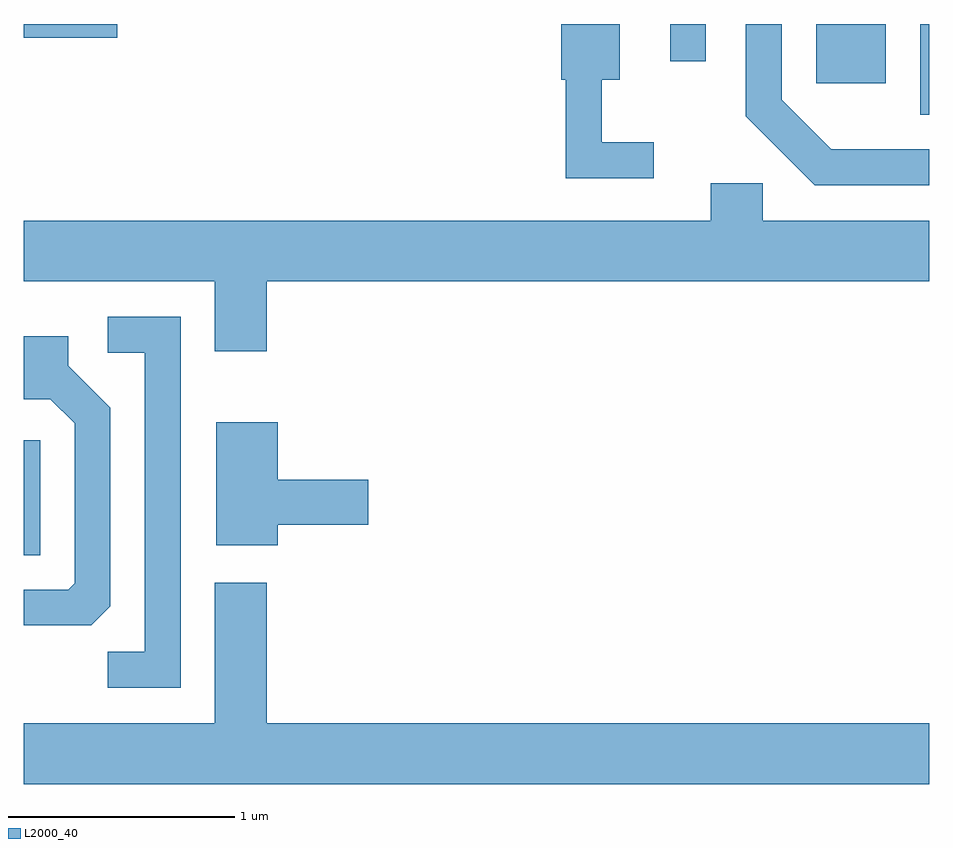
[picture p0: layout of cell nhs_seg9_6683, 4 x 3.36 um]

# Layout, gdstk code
import gdstk
lib = gdstk.Library(unit=1e-6, precision=1e-09)
def R(c, l, rs):  # rectangles x0, y0, x1, y1
    for r in rs: c.add(gdstk.rectangle(r[:2], r[2:], *l))
def P(c, l, *ps):  # polygons
    for p in ps: c.add(gdstk.Polygon(p, *l))
L2000_40 = (2000, 40)

nhs_seg9_6683 = lib.new_cell('nhs_seg9_6683')
R(nhs_seg9_6683, L2000_40, [(381.611,2066.086,381.684,2066.593), (385.571,2068.031,385.611,2068.432), (385.111,2068.171,385.419,2068.432), (384.466,2068.268,384.624,2068.432), (381.611,2068.371,382.024,2068.432)])
P(nhs_seg9_6683, L2000_40, [(385.611,2067.879),(385.177,2067.879),(384.959,2068.097),(384.959,2068.432),(384.801,2068.432),(384.801,2068.024),(385.104,2067.721),(385.611,2067.721)],
  [(384.393,2067.909),(384.164,2067.909),(384.164,2068.186),(384.244,2068.186),(384.244,2068.432),(383.986,2068.432),(383.986,2068.186),(384.006,2068.186),(384.006,2067.751),(384.393,2067.751)],
  [(382.684,2067.296),(385.611,2067.296),(385.611,2067.564),(384.874,2067.564),(384.874,2067.729),(384.646,2067.729),(384.646,2067.564),(381.611,2067.564),(381.611,2067.296),(382.456,2067.296),(382.456,2066.986),(382.684,2066.986)],
  [(382.304,2067.139),(381.983,2067.139),(381.983,2066.981),(382.146,2066.981),(382.146,2065.659),(381.983,2065.659),(381.983,2065.501),(382.304,2065.501)],
  [(381.994,2065.862),(381.994,2066.737),(381.809,2066.922),(381.809,2067.054),(381.611,2067.054),(381.611,2066.776),(381.729,2066.776),(381.836,2066.669),(381.836,2065.962),(381.809,2065.934),(381.611,2065.934),(381.611,2065.776),(381.909,2065.776)],
  [(382.734,2066.221),(383.134,2066.221),(383.134,2066.419),(382.734,2066.419),(382.734,2066.674),(382.461,2066.674),(382.461,2066.131),(382.734,2066.131)],
  [(385.611,2065.344),(382.684,2065.344),(382.684,2065.964),(382.456,2065.964),(382.456,2065.344),(381.611,2065.344),(381.611,2065.076),(385.611,2065.076)])

lib.write_gds('nhs_seg9_6683.gds')
